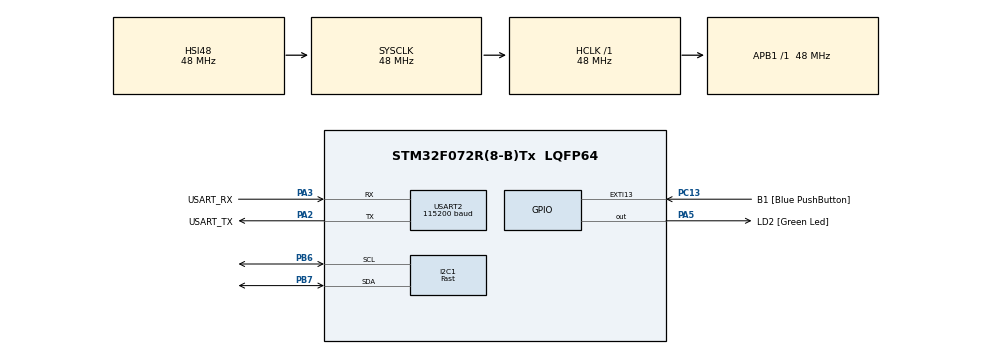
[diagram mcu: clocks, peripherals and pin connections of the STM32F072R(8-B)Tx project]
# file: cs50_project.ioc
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I2C1.I2C_Speed_Mode=I2C_Fast
I2C1.OwnAddress=0
I2C1.Timing=0x0000020B
Mcu.Family=STM32F0
Mcu.Name=STM32F072R(8-B)Tx
Mcu.Package=LQFP64
NVIC.EXTI4_15_IRQn=true\:0\:0\:false\:false\:true\:true\:true\:true
PA13.GPIO_Label=TMS
PA13.Mode=Serial_Wire
PA13.Signal=SYS_SWDIO
PA14.GPIO_Label=TCK
PA14.Mode=Serial_Wire
PA14.Signal=SYS_SWCLK
PA2.GPIO_Label=USART_TX
PA2.GPIO_Mode=GPIO_MODE_AF_PP
PA2.GPIO_PuPd=GPIO_NOPULL
PA2.GPIO_Speed=GPIO_SPEED_FREQ_LOW
PA2.Mode=Asynchronous
PA2.Signal=USART2_TX
PA3.GPIO_Label=USART_RX
PA3.GPIO_Mode=GPIO_MODE_AF_PP
PA3.GPIO_PuPd=GPIO_NOPULL
PA3.GPIO_Speed=GPIO_SPEED_FREQ_LOW
PA3.Mode=Asynchronous
PA3.Signal=USART2_RX
PA5.GPIO_Label=LD2 [Green Led]
PA5.GPIO_Mode=GPIO_MODE_OUTPUT_PP
PA5.GPIO_PuPd=GPIO_NOPULL
PA5.GPIO_Speed=GPIO_SPEED_FREQ_LOW
PA5.Signal=GPIO_Output
PB6.Mode=I2C
PB6.Signal=I2C1_SCL
PB7.Mode=I2C
PB7.Signal=I2C1_SDA
PC13.GPIO_Label=B1 [Blue PushButton]
PC13.GPIO_ModeDefaultEXTI=GPIO_MODE_IT_FALLING
PC13.Signal=GPXTI13
PC14-OSC32_IN.Mode=LSE-External-Oscillator
PC14-OSC32_IN.Signal=RCC_OSC32_IN
PC15-OSC32_OUT.Mode=LSE-External-Oscillator
PC15-OSC32_OUT.Signal=RCC_OSC32_OUT
PF0-OSC_IN.Mode=HSE-External-Clock-Source
PF0-OSC_IN.Signal=RCC_OSC_IN
PF1-OSC_OUT.Signal=RCC_OSC_OUT
ProjectManager.HeapSize=0x200
ProjectManager.StackSize=0x400
ProjectManager.TargetToolchain=STM32CubeIDE
RCC.AHBFreq_Value=48000000
RCC.APB1Freq_Value=48000000
RCC.APB1TimFreq_Value=48000000
RCC.FLatency-AdvancedSettings=FLASH_LATENCY_1
RCC.HCLKFreq_Value=48000000
RCC.PLLDivider=RCC_PREDIV_DIV2
RCC.PLLMUL=RCC_PLL_MUL12
RCC.PREFETCH_ENABLE-AdvancedSettings=1
RCC.SYSCLKFreq_VALUE=48000000
RCC.SYSCLKSource=RCC_SYSCLKSOURCE_HSI48
USART2.BaudRate=115200
USART2.VirtualMode=VM_ASYNC
USART2.VirtualMode-Asynchronous=VM_ASYNC
board=NUCLEO-F072RB

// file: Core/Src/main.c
/* USER CODE BEGIN Header */
/**
 ******************************************************************************
 * @file           : main.c
 * @brief          : Main program body
 ******************************************************************************
 * @attention
 *
 * Copyright (c) 2023 STMicroelectronics.
 * All rights reserved.
 *
 * This software is licensed under terms that can be found in the LICENSE file
 * in the root directory of this software component.
 * If no LICENSE file comes with this software, it is provided AS-IS.
 *
 ******************************************************************************
 */
/* USER CODE BEGIN License */
/*  The application to detect vehicles using the MMC5603NJ magnetic sensor.
 Copyright (C) 2023 Lana Popova.

 This application, which includes any code enclosed within
 "USER CODE ..." comments, is free software: you can redistribute it and/or
 modify it under the terms of the GNU General Public License as published by
 the Free Software Foundation, either version 3 of the License, or
 (at your option) any later version.

 This application is distributed in the hope that it will be useful,
 but WITHOUT ANY WARRANTY; without even the implied warranty of
 MERCHANTABILITY or FITNESS FOR A PARTICULAR PURPOSE. See the
 GNU General Public License for more details.

 You should have received a copy of the GNU General Public License
 along with this application. If not, see <https://www.gnu.org/licenses/>. */
/* USER CODE END License */
/* USER CODE END Header */
#include "main.h"

/* USER CODE BEGIN Includes */
#include "mmc5603nj.h"
#include <stdbool.h>
#include <stdio.h>
#include <stdlib.h>
#include <string.h>
/* USER CODE END Includes */

/* USER CODE BEGIN PTD */
typedef enum
{
  APP_INIT,
  APP_MEASURE,
  APP_SEND,
  APP_ERROR
} STATES_APP_ENUM;
/* USER CODE END PTD */

/* USER CODE BEGIN PD */
#define FIFO_SIZE 5U
#define MAGN_SQRD_THRSHLD 12000.0f
/* USER CODE END PD */

I2C_HandleTypeDef hi2c1;

UART_HandleTypeDef huart2;

void SystemClock_Config(void);
static void MX_GPIO_Init(void);
static void MX_USART2_UART_Init(void);
static void MX_I2C1_Init(void);
/* USER CODE BEGIN PFP */
static void app(void);
bool detect_vehicle(float mag_sqrd, float mag_sqrd_med);
static int compare_values(const void *a_ptr, const void *b_ptr);
static float get_moving_median(float new_value);
static float get_magnitude_squared(MMC5603NJ_DATA_STRUCT *data_ptr);
/* USER CODE END PFP */

int main(void)
{

  /* MCU Configuration--------------------------------------------------------*/

  /* Reset of all peripherals, Initializes the Flash interface and the Systick. */
  HAL_Init();

  /* Configure the system clock */
  SystemClock_Config();

  /* Initialize all configured peripherals */
  MX_GPIO_Init();
  MX_USART2_UART_Init();
  MX_I2C1_Init();

  /* Infinite loop */
  /* USER CODE BEGIN WHILE */
  while (1)
  {
    app();
    /* USER CODE END WHILE */

  }
}

void SystemClock_Config(void)
{
  RCC_OscInitTypeDef RCC_OscInitStruct = {0};
  RCC_ClkInitTypeDef RCC_ClkInitStruct = {0};
  RCC_PeriphCLKInitTypeDef PeriphClkInit = {0};

  /** Initializes the RCC Oscillators according to the specified parameters
   * in the RCC_OscInitTypeDef structure.
   */
  RCC_OscInitStruct.OscillatorType = RCC_OSCILLATORTYPE_HSI | RCC_OSCILLATORTYPE_HSI48;
  RCC_OscInitStruct.HSIState = RCC_HSI_ON;
  RCC_OscInitStruct.HSI48State = RCC_HSI48_ON;
  RCC_OscInitStruct.HSICalibrationValue = RCC_HSICALIBRATION_DEFAULT;
  RCC_OscInitStruct.PLL.PLLState = RCC_PLL_NONE;
  if (HAL_RCC_OscConfig(&RCC_OscInitStruct) != HAL_OK)
  {
    Error_Handler();
  }

  /** Initializes the CPU, AHB and APB buses clocks
   */
  RCC_ClkInitStruct.ClockType = RCC_CLOCKTYPE_HCLK | RCC_CLOCKTYPE_SYSCLK | RCC_CLOCKTYPE_PCLK1;
  RCC_ClkInitStruct.SYSCLKSource = RCC_SYSCLKSOURCE_HSI48;
  RCC_ClkInitStruct.AHBCLKDivider = RCC_SYSCLK_DIV1;
  RCC_ClkInitStruct.APB1CLKDivider = RCC_HCLK_DIV1;

  if (HAL_RCC_ClockConfig(&RCC_ClkInitStruct, FLASH_LATENCY_1) != HAL_OK)
  {
    Error_Handler();
  }
  PeriphClkInit.PeriphClockSelection = RCC_PERIPHCLK_USART2 | RCC_PERIPHCLK_I2C1;
  PeriphClkInit.Usart2ClockSelection = RCC_USART2CLKSOURCE_PCLK1;
  PeriphClkInit.I2c1ClockSelection = RCC_I2C1CLKSOURCE_HSI;
  if (HAL_RCCEx_PeriphCLKConfig(&PeriphClkInit) != HAL_OK)
  {
    Error_Handler();
  }
}

static void MX_I2C1_Init(void)
{

  hi2c1.Instance = I2C1;
  hi2c1.Init.Timing = 0x0000020B;
  hi2c1.Init.OwnAddress1 = 0;
  hi2c1.Init.AddressingMode = I2C_ADDRESSINGMODE_7BIT;
  hi2c1.Init.DualAddressMode = I2C_DUALADDRESS_DISABLE;
  hi2c1.Init.OwnAddress2 = 0;
  hi2c1.Init.OwnAddress2Masks = I2C_OA2_NOMASK;
  hi2c1.Init.GeneralCallMode = I2C_GENERALCALL_DISABLE;
  hi2c1.Init.NoStretchMode = I2C_NOSTRETCH_DISABLE;
  if (HAL_I2C_Init(&hi2c1) != HAL_OK)
  {
    Error_Handler();
  }

  /** Configure Analogue filter
   */
  if (HAL_I2CEx_ConfigAnalogFilter(&hi2c1, I2C_ANALOGFILTER_ENABLE) != HAL_OK)
  {
    Error_Handler();
  }

  /** Configure Digital filter
   */
  if (HAL_I2CEx_ConfigDigitalFilter(&hi2c1, 0) != HAL_OK)
  {
    Error_Handler();
  }
}

static void MX_USART2_UART_Init(void)
{

  huart2.Instance = USART2;
  huart2.Init.BaudRate = 115200;
  huart2.Init.WordLength = UART_WORDLENGTH_8B;
  huart2.Init.StopBits = UART_STOPBITS_1;
  huart2.Init.Parity = UART_PARITY_NONE;
  huart2.Init.Mode = UART_MODE_TX_RX;
  huart2.Init.HwFlowCtl = UART_HWCONTROL_NONE;
  huart2.Init.OverSampling = UART_OVERSAMPLING_16;
  huart2.Init.OneBitSampling = UART_ONE_BIT_SAMPLE_DISABLE;
  huart2.AdvancedInit.AdvFeatureInit = UART_ADVFEATURE_NO_INIT;
  if (HAL_UART_Init(&huart2) != HAL_OK)
  {
    Error_Handler();
  }
}

static void MX_GPIO_Init(void)
{
  GPIO_InitTypeDef GPIO_InitStruct = {0};

  /* GPIO Ports Clock Enable */
  __HAL_RCC_GPIOC_CLK_ENABLE();
  __HAL_RCC_GPIOF_CLK_ENABLE();
  __HAL_RCC_GPIOA_CLK_ENABLE();
  __HAL_RCC_GPIOB_CLK_ENABLE();
  __HAL_RCC_GPIOD_CLK_ENABLE();

  /*Configure GPIO pin Output Level */
  HAL_GPIO_WritePin(LD2_GPIO_Port, LD2_Pin, GPIO_PIN_RESET);

  /*Configure GPIO pin : B1_Pin */
  GPIO_InitStruct.Pin = B1_Pin;
  GPIO_InitStruct.Mode = GPIO_MODE_IT_FALLING;
  GPIO_InitStruct.Pull = GPIO_NOPULL;
  HAL_GPIO_Init(B1_GPIO_Port, &GPIO_InitStruct);

  /*Configure GPIO pins : PC0 PC1 PC2 PC3
                           PC4 PC5 PC6 PC7
                           PC8 PC9 PC10 PC11
                           PC12 */
  GPIO_InitStruct.Pin = GPIO_PIN_0 | GPIO_PIN_1 | GPIO_PIN_2 | GPIO_PIN_3 | GPIO_PIN_4 | GPIO_PIN_5 | GPIO_PIN_6 | GPIO_PIN_7 | GPIO_PIN_8 | GPIO_PIN_9 | GPIO_PIN_10 | GPIO_PIN_11 | GPIO_PIN_12;
  GPIO_InitStruct.Mode = GPIO_MODE_ANALOG;
  GPIO_InitStruct.Pull = GPIO_NOPULL;
  HAL_GPIO_Init(GPIOC, &GPIO_InitStruct);

  /*Configure GPIO pins : PA0 PA1 PA4 PA6
                           PA7 PA8 PA9 PA10
                           PA11 PA12 PA15 */
  GPIO_InitStruct.Pin = GPIO_PIN_0 | GPIO_PIN_1 | GPIO_PIN_4 | GPIO_PIN_6 | GPIO_PIN_7 | GPIO_PIN_8 | GPIO_PIN_9 | GPIO_PIN_10 | GPIO_PIN_11 | GPIO_PIN_12 | GPIO_PIN_15;
  GPIO_InitStruct.Mode = GPIO_MODE_ANALOG;
  GPIO_InitStruct.Pull = GPIO_NOPULL;
  HAL_GPIO_Init(GPIOA, &GPIO_InitStruct);

  /*Configure GPIO pin : LD2_Pin */
  GPIO_InitStruct.Pin = LD2_Pin;
  GPIO_InitStruct.Mode = GPIO_MODE_OUTPUT_PP;
  GPIO_InitStruct.Pull = GPIO_NOPULL;
  GPIO_InitStruct.Speed = GPIO_SPEED_FREQ_LOW;
  HAL_GPIO_Init(LD2_GPIO_Port, &GPIO_InitStruct);

  /*Configure GPIO pins : PB0 PB1 PB2 PB10
                           PB11 PB12 PB13 PB14
                           PB15 PB3 PB4 PB5
                           PB8 PB9 */
  GPIO_InitStruct.Pin = GPIO_PIN_0 | GPIO_PIN_1 | GPIO_PIN_2 | GPIO_PIN_10 | GPIO_PIN_11 | GPIO_PIN_12 | GPIO_PIN_13 | GPIO_PIN_14 | GPIO_PIN_15 | GPIO_PIN_3 | GPIO_PIN_4 | GPIO_PIN_5 | GPIO_PIN_8 | GPIO_PIN_9;
  GPIO_InitStruct.Mode = GPIO_MODE_ANALOG;
  GPIO_InitStruct.Pull = GPIO_NOPULL;
  HAL_GPIO_Init(GPIOB, &GPIO_InitStruct);

  /*Configure GPIO pin : PD2 */
  GPIO_InitStruct.Pin = GPIO_PIN_2;
  GPIO_InitStruct.Mode = GPIO_MODE_ANALOG;
  GPIO_InitStruct.Pull = GPIO_NOPULL;
  HAL_GPIO_Init(GPIOD, &GPIO_InitStruct);

  /* EXTI interrupt init*/
  HAL_NVIC_SetPriority(EXTI4_15_IRQn, 0, 0);
  HAL_NVIC_EnableIRQ(EXTI4_15_IRQn);

}

/* USER CODE BEGIN 4 */
static void app(void)
{
  static STATES_APP_ENUM state_app = APP_INIT;
  static MMC5603NJ_STATES_ENUM state_mmc;
  static MMC5603NJ_DATA_STRUCT data;
  static uint8_t buf_diag_app[80];
  static uint8_t buf_data[MMC5603NJ_MEAS_REGS] = {0};

  switch (state_app)
  {
  case (APP_INIT):
  {
    state_mmc = MMC5603NJ_init(&hi2c1);

    if (state_mmc == MMC_READY)
    {
      state_app = APP_MEASURE;
      HAL_GPIO_TogglePin(LD2_GPIO_Port, LD2_Pin);
    }
    else if (state_mmc == MMC_ERROR)
    {
      state_app = APP_ERROR;
    }
    break;
  }
  case (APP_MEASURE):
  {
    state_mmc = MMC5603NJ_measure(&hi2c1, buf_data, sizeof(buf_data));

    if (state_mmc == MMC_MEAS_DONE)
    {
      MMC5603NJ_get_data(buf_data, sizeof(buf_data), &data);
      state_app = APP_SEND;
    }
    else if (state_mmc == MMC_ERROR)
    {
      state_app = APP_ERROR;
    }
    break;
  }
  case (APP_SEND):
  {
    static float mag_sq;
    static float mag_sq_med = 0.0f;
    static bool is_vehicle = false;
    static int len;

    mag_sq = get_magnitude_squared(&data);

    // Once a vehicle is detected, stop updating median values as
    // we do not know how long the vehicle will be near the sensor.
    if (!is_vehicle)
    {
      mag_sq_med = get_moving_median(mag_sq);
    }

    is_vehicle = detect_vehicle(mag_sq, mag_sq_med);
    len = snprintf((char *)buf_diag_app, sizeof(buf_diag_app), "%lu,%f,%f,%u\r\n", HAL_GetTick(),
                   mag_sq, mag_sq_med, is_vehicle);
    if (len > 0 && len <= sizeof(buf_diag_app))
    {
      HAL_UART_Transmit(&huart2, buf_diag_app, len, 100U);
    }

    state_app = APP_MEASURE;
    break;
  }
  case (APP_ERROR):
  default:
    break;
  }
}

bool detect_vehicle(float mag_sqrd, float mag_sqrd_med)
{
  static bool is_triggered = false;

  if (!is_triggered)
  {
    if ((mag_sqrd > mag_sqrd_med + MAGN_SQRD_THRSHLD) ||
        (mag_sqrd < mag_sqrd_med - MAGN_SQRD_THRSHLD))
    {
      is_triggered = true;
      HAL_GPIO_WritePin(LD2_GPIO_Port, LD2_Pin, GPIO_PIN_SET);
    }
  }
  else
  {
    if ((mag_sqrd <= mag_sqrd_med + MAGN_SQRD_THRSHLD) &&
        (mag_sqrd >= mag_sqrd_med - MAGN_SQRD_THRSHLD))
    {
      is_triggered = false;
      HAL_GPIO_WritePin(LD2_GPIO_Port, LD2_Pin, GPIO_PIN_RESET);
    }
  }

  return is_triggered;
}

static int compare_values(const void *a_ptr, const void *b_ptr)
{
  float a = *((float *)a_ptr);
  float b = *((float *)b_ptr);

  return a < b ? -1 : (a == b ? 0 : 1);
}

static float get_moving_median(float new_value)
{
  static float fifo_buf[FIFO_SIZE] = {0};
  static float sort_buf[FIFO_SIZE] = {0};
  static const size_t med_idx = FIFO_SIZE / 2U;
  static size_t idx;

  // Push back values.
  for (idx = 0; idx < (FIFO_SIZE - 1); idx++)
  {
    fifo_buf[idx] = fifo_buf[idx + 1];
  }
  // Add the latest value to the end.
  fifo_buf[idx] = new_value;

  memcpy(sort_buf, fifo_buf, sizeof(fifo_buf));
  qsort(sort_buf, FIFO_SIZE, sizeof(float), &compare_values);

  return sort_buf[med_idx] != 0 ? sort_buf[med_idx] : new_value;
}

static float get_magnitude_squared(MMC5603NJ_DATA_STRUCT *data_ptr)
{
  static float mgn_sqrd;

  mgn_sqrd = 0;

  if (data_ptr != NULL)
  {
    mgn_sqrd = data_ptr->x * data_ptr->x +
               data_ptr->y * data_ptr->y +
               data_ptr->z * data_ptr->z;
  }

  return mgn_sqrd;
}

void HAL_GPIO_EXTI_Callback(uint16_t GPIO_Pin)
{
  if (GPIO_Pin == B1_Pin)
  {
    __NOP();
  }
  else
  {
    __NOP();
  }
}
/* USER CODE END 4 */

void Error_Handler(void)
{
  __disable_irq();
  while (1)
  {
  }
}
